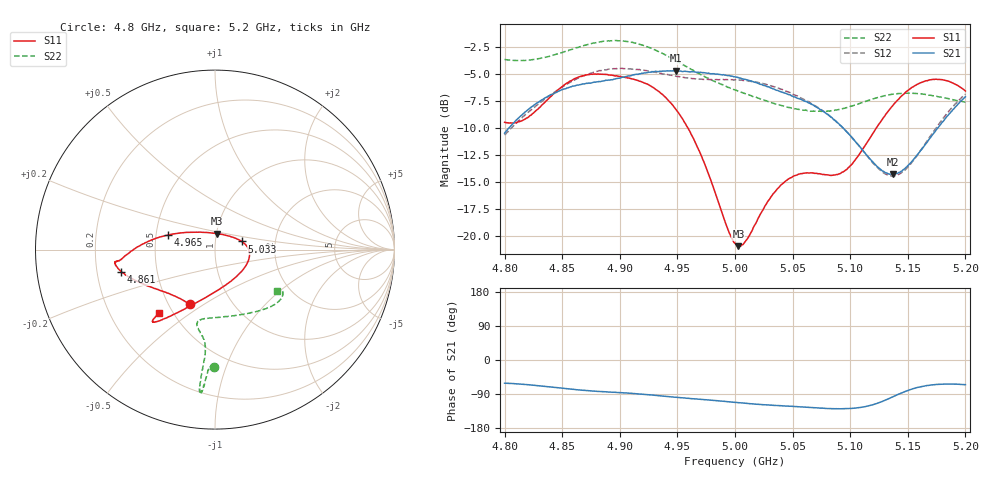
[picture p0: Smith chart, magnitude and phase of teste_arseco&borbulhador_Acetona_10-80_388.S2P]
! Network Analyzer HP8722D
! Hewlett-Packard
! Data name: Linha & Wilkinson
! Saver's name: Rodrigo Anjos
! Comments: Teste da utilização de aquisição
! continua pelo VNA HP8722D
! Time and date: 17/4/2025 17:35
!  Frequency  S11  S21  S12  S22
# HZ  S  MA R 50
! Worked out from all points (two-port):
!   401 points, 4.8 GHz to 5.2 GHz, reference 50 ohm
!   highest |S21| = -4.70 dB at 4.949 GHz (marker M1); lowest = -14.3 dB at 5.137 GHz (marker M2)
!   |S21| within 3 dB of the highest: 4.828 GHz to 5.064 GHz (236.5 MHz wide, 4.78 % of centre); 5.194356 GHz to end of sweep
!   lowest |S11| = -21.0 dB at 5.003 GHz (marker M3), VSWR 1.20, Z = 50 + j9 ohm
!   |S11| at or under -10 dB: 4.959 GHz to 5.123 GHz (163.6 MHz wide, 3.25 % of centre)
!   |S22| runs from -8.5 to -1.9 dB; largest |S21 - S12| = 0.87
!   S11 on the Smith chart (normalised r, x): 4.8 GHz: 0.64, -0.44; 4.861 GHz: 0.31, -0.11; 4.965 GHz: 0.58, +0.10; 5.033 GHz: 1.35, +0.12; 5.2 GHz: 0.42, -0.38
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4.8e9  0.3359 -114.7  0.2991 -61.2  0.2932 -175.4  0.6567 -90.5
4.819e9  0.3513 -134.7  0.3795 -64.9  0.3671 -174.6  0.6518 -92.2
4.861e9  0.5359 -166.6  0.4957 -78.0  0.5288 -177.7  0.7385 -94.4
4.867e9  0.5506 -169.0  0.504 -79.7  0.5483 -178.8  0.7582 -94.5
4.9e9  0.5478 -173.2  0.5379 -86.0  0.5962 174.8  0.8016 -96.0
4.934e9  0.4662 -179.0  0.5778 -94.3  0.5692 171.2  0.712 -96.3
4.949e9  0.3837 174.0  0.5822 -98.3  0.5493 171.6  0.647 -95.8
4.965e9  0.2746 162.8  0.5753 -102.7  0.5349 173.2  0.5787 -95.4
4.994e9  0.1068 116.5  0.5525 -110.0  0.5294 175.4  0.4876 -98.1
5e9  0.09234 95.8  0.5457 -111.9  0.5295 175.5  0.4749 -99.4
5.003e9  0.08956 84.6  0.5415 -112.6  0.5275 175.5  0.4681 -100.1
5.011e9  0.0973 56.6  0.5273 -114.7  0.5232 175.3  0.4522 -101.8
5.033e9  0.1563 16.8  0.4799 -119.7  0.4921 174.2  0.4116 -103.4
5.049e9  0.1862 0.8  0.4456 -122.2  0.4577 173.5  0.3913 -99.6
5.067e9  0.1958 -18.4  0.4058 -125.6  0.409 173.2  0.3784 -89.8
5.096e9  0.2017 -69.1  0.3074 -128.5  0.3078 174.6  0.3919 -67.3
5.122e9  0.3121 -109.1  0.2134 -115.8  0.2111 -170.4  0.4349 -49.2
5.134e9  0.3844 -118.5  0.1931 -101.1  0.1899 -154.4  0.4508 -43.1
5.137e9  0.4015 -120.2  0.1927 -97.3  0.1896 -149.5  0.4531 -41.9
5.149e9  0.4672 -125.3  0.2086 -81.5  0.2055 -131.5  0.4583 -37.4
5.17e9  0.5291 -130.2  0.2867 -66.1  0.2917 -112.2  0.4482 -32.4
5.2e9  0.4691 -131.5  0.441 -65.2  0.4532 -107.3  0.4159 -33.9
